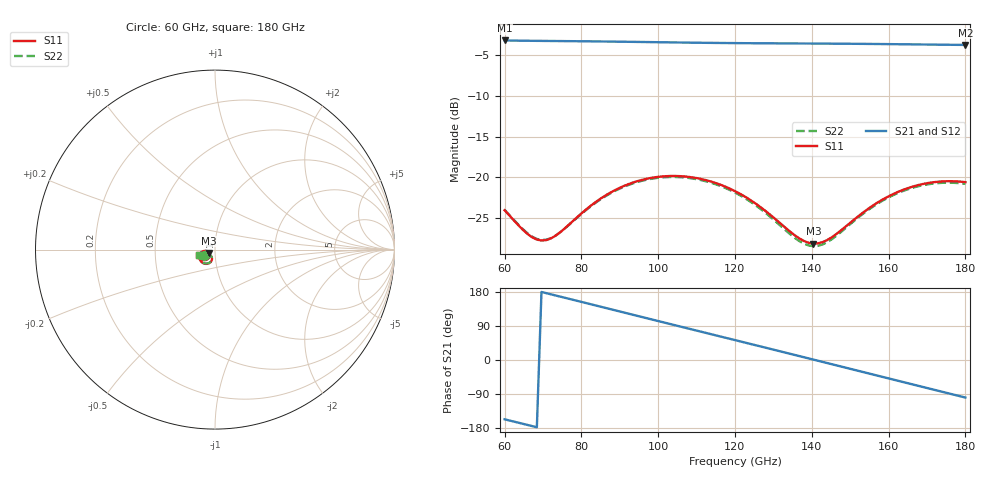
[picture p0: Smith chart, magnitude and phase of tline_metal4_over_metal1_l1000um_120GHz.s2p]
#  GHZ S DB R 50
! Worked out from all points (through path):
!   101 points, 60 GHz to 180 GHz, reference 50 ohm
!   highest |S21| = -3.28 dB at 60 GHz (marker M1); lowest = -3.8 dB at 180 GHz (marker M2)
!   group delay of S21, straight-line fit = 7.01 ps
!   lowest |S11| = -28.1 dB at 140.4 GHz (marker M3), VSWR 1.08, Z = 46.6 - j1.8 ohm
!   |S11| at or under -10 dB: start of sweep to end of sweep
!   |S22| runs from -28.4 to -19.9 dB; largest |S21 - S12| = 7.6e-14
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60  -23.99 -152.0  -3.28 -156.5  -3.28 -156.5  -23.95 -152.2
66  -26.91 -142.7  -3.31 -171.5  -3.31 -171.5  -26.83 -143.3
69.6  -27.69 -129.5  -3.33 179.5  -3.33 179.5  -27.63 -130.5
73.2  -27.13 -116.5  -3.35 170.5  -3.35 170.5  -27.12 -117.7
80.4  -24.23 -107.0  -3.38 152.3  -3.38 152.3  -24.29 -108.1
85.2  -22.52 -109.8  -3.40 140.2  -3.40 140.2  -22.60 -110.8
91.2  -21.01 -117.7  -3.43 125.0  -3.43 125.0  -21.11 -118.7
100.8  -19.89 -134.2  -3.50 100.8  -3.50 100.8  -20.00 -135.3
105.6  -19.84 -143.0  -3.53 88.7  -3.53 88.7  -19.96 -144.0
110.4  -20.11 -151.5  -3.55 76.6  -3.55 76.6  -20.24 -152.6
120  -21.67 -166.3  -3.60 52.5  -3.60 52.5  -21.84 -167.5
126  -23.40 -172.0  -3.62 37.4  -3.62 37.4  -23.61 -173.3
130.8  -25.19 -172.2  -3.63 25.3  -3.63 25.3  -25.45 -173.4
136.8  -27.45 -162.5  -3.64 10.2  -3.64 10.2  -27.78 -163.3
140.4  -28.07 -150.8  -3.65 1.1  -3.65 1.1  -28.38 -151.1
144  -27.64 -138.8  -3.66 -8.0  -3.66 -8.0  -27.90 -138.7
150  -25.53 -127.8  -3.68 -23.2  -3.68 -23.2  -25.70 -127.9
154.8  -23.79 -127.2  -3.70 -35.4  -3.70 -35.4  -23.92 -127.6
160.8  -22.11 -131.9  -3.73 -50.6  -3.73 -50.6  -22.24 -132.7
170.4  -20.67 -145.0  -3.78 -74.9  -3.78 -74.9  -20.82 -146.3
175.2  -20.46 -152.5  -3.80 -87.0  -3.80 -87.0  -20.64 -153.9
180  -20.57 -159.9  -3.82 -99.1  -3.82 -99.1  -20.78 -161.6
